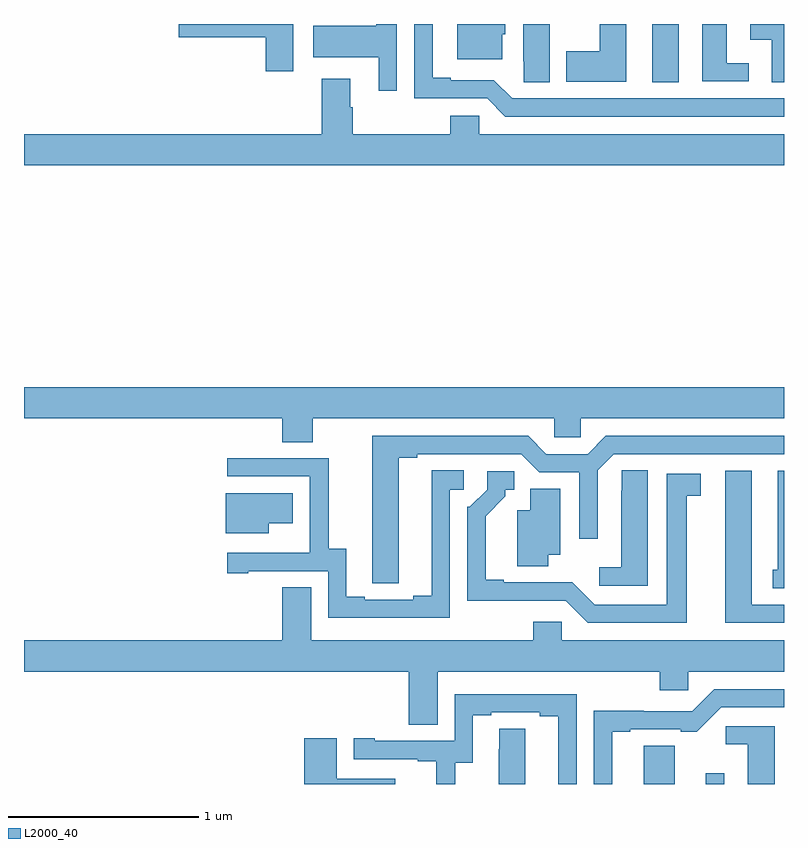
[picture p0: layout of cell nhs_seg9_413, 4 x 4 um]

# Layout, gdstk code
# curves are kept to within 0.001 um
import gdstk
lib = gdstk.Library(unit=1e-6, precision=1e-09)
def R(c, l, rs):  # rectangles x0, y0, x1, y1
    for r in rs: c.add(gdstk.rectangle(r[:2], r[2:], *l))
def P(c, l, *ps):  # polygons
    for p in ps: c.add(gdstk.Polygon(p, *l))
L2000_40 = (2000, 40)

nhs_seg9_413 = lib.new_cell('nhs_seg9_413')
R(nhs_seg9_413, L2000_40, [(134.588,1190.5,134.685,1190.557), (134.306,1194.193,134.446,1194.5)])
P(nhs_seg9_413, L2000_40, [(132.418,1194.5),(131.814,1194.5),(131.814,1194.431),(132.272,1194.431),(132.272,1194.252),(132.418,1194.252)],
  [(135,1194.5),(134.822,1194.5),(134.822,1194.416),(134.936,1194.416),(134.936,1194.193),(135,1194.193)],
  [(134.17,1194.5),(134.03,1194.5),(134.03,1194.357),(133.853,1194.357),(133.853,1194.197),(134.17,1194.197)],
  [(134.815,1194.294),(134.698,1194.294),(134.698,1194.5),(134.57,1194.5),(134.57,1194.198),(134.815,1194.198)],
  [(132.963,1194.5),(132.855,1194.5),(132.855,1194.492),(132.522,1194.492),(132.522,1194.326),(132.866,1194.326),(132.866,1194.15),(132.963,1194.15)],
  [(135,1194.108),(133.569,1194.108),(133.473,1194.204),(133.246,1194.204),(133.246,1194.217),(133.15,1194.217),(133.15,1194.5),(133.053,1194.5),(133.053,1194.108),(133.437,1194.108),(133.533,1194.012),(135,1194.012)],
  [(133.516,1194.447),(133.534,1194.447),(133.534,1194.5),(133.28,1194.5),(133.28,1194.314),(133.516,1194.314)],
  [(133.768,1194.5),(133.628,1194.5),(133.628,1194.304),(133.629,1194.304),(133.629,1194.193),(133.768,1194.193)],
  [(135,1193.92),(133.395,1193.92),(133.395,1194.018),(133.244,1194.018),(133.244,1193.92),(132.731,1193.92),(132.731,1194.062),(132.718,1194.062),(132.718,1194.211),(132.566,1194.211),(132.566,1193.92),(131,1193.92),(131,1193.756),(135,1193.756)],
  [(132.519,1192.424),(133.791,1192.424),(133.791,1192.326),(133.929,1192.326),(133.929,1192.424),(135,1192.424),(135,1192.588),(131,1192.588),(131,1192.424),(132.359,1192.424),(132.359,1192.3),(132.519,1192.3)],
  [(132.973,1192.216),(133.069,1192.216),(133.069,1192.236),(133.617,1192.236),(133.713,1192.14),(133.923,1192.14),(133.923,1191.792),(134.019,1191.792),(134.019,1192.152),(134.103,1192.236),(135,1192.236),(135,1192.332),(134.063,1192.332),(133.967,1192.236),(133.749,1192.236),(133.653,1192.332),(132.833,1192.332),(132.834,1191.556),(132.973,1191.556)],
  [(133.242,1192.05),(133.315,1192.05),(133.315,1192.151),(133.145,1192.151),(133.145,1191.491),(133.049,1191.491),(133.049,1191.471),(132.793,1191.471),(132.793,1191.486),(132.697,1191.486),(132.697,1191.737),(132.603,1191.737),(132.603,1192.215),(132.069,1192.215),(132.069,1192.119),(132.504,1192.119),(132.504,1191.718),(132.503,1191.718),(132.503,1191.717),(132.069,1191.717),(132.069,1191.609),(132.181,1191.609),(132.181,1191.621),(132.6,1191.621),(132.6,1191.375),(133.242,1191.375)],
  [(134.284,1192.151),(134.145,1192.151),(134.145,1192.043),(134.144,1192.043),(134.144,1191.64),(134.028,1191.64),(134.028,1191.543),(134.284,1191.543)],
  [(135,1192.15),(134.966,1192.15),(134.966,1191.627),(134.942,1191.627),(134.942,1191.529),(135,1191.529)],
  [(135,1191.444),(134.83,1191.444),(134.83,1192.15),(134.69,1192.15),(134.69,1191.348),(135,1191.348)],
  [(134.488,1192.018),(134.563,1192.018),(134.563,1192.134),(134.384,1192.134),(134.384,1191.444),(134.004,1191.444),(133.886,1191.562),(133.525,1191.561),(133.525,1191.574),(133.429,1191.574),(133.429,1191.91),(133.534,1192.015),(133.534,1192.05),(133.579,1192.05),(133.579,1192.146),(133.437,1192.146),(133.437,1192.05),(133.347,1191.96),(133.332,1191.96),(133.332,1191.464),(133.851,1191.465),(133.968,1191.348),(134.488,1191.348)],
  [(133.759,1191.707),(133.822,1191.707),(133.822,1192.055),(133.664,1192.055),(133.664,1191.94),(133.595,1191.94),(133.595,1191.646),(133.759,1191.646)],
  [(132.289,1191.872),(132.415,1191.872),(132.415,1192.03),(132.062,1192.03),(132.062,1191.821),(132.289,1191.821)],
  [(133.679,1191.354),(133.679,1191.256),(132.511,1191.256),(132.511,1191.536),(132.359,1191.536),(132.359,1191.256),(131,1191.256),(131,1191.092),(133.025,1191.092),(133.025,1190.812),(133.177,1190.812),(133.177,1191.092),(134.345,1191.092),(134.345,1190.994),(134.496,1190.994),(134.496,1191.092),(135,1191.092),(135,1191.256),(133.83,1191.256),(133.83,1191.354)],
  [(134.095,1190.775),(134.191,1190.775),(134.191,1190.787),(134.456,1190.787),(134.456,1190.776),(134.542,1190.776),(134.67,1190.904),(135,1190.904),(135,1191),(134.634,1191),(134.517,1190.883),(134.261,1190.883),(134.261,1190.885),(133.998,1190.885),(133.998,1190.5),(134.095,1190.5)],
  [(133.269,1190.611),(133.363,1190.611),(133.363,1190.862),(133.459,1190.862),(133.459,1190.877),(133.715,1190.877),(133.715,1190.857),(133.811,1190.857),(133.811,1190.5),(133.908,1190.5),(133.908,1190.973),(133.266,1190.973),(133.266,1190.727),(132.847,1190.727),(132.847,1190.74),(132.735,1190.74),(132.735,1190.631),(133.073,1190.631),(133.073,1190.619),(133.169,1190.619),(133.169,1190.5),(133.269,1190.5)],
  [(134.95,1190.805),(134.694,1190.805),(134.694,1190.708),(134.81,1190.708),(134.81,1190.5),(134.95,1190.5)],
  [(133.639,1190.792),(133.5,1190.792),(133.5,1190.684),(133.499,1190.684),(133.499,1190.5),(133.639,1190.5)],
  [(132.955,1190.527),(132.646,1190.527),(132.646,1190.74),(132.476,1190.74),(132.476,1190.5),(132.955,1190.5)],
  [(134.425,1190.544),(134.424,1190.544),(134.424,1190.702),(134.261,1190.702),(134.261,1190.5),(134.425,1190.5)])

lib.write_gds('nhs_seg9_413.gds')
